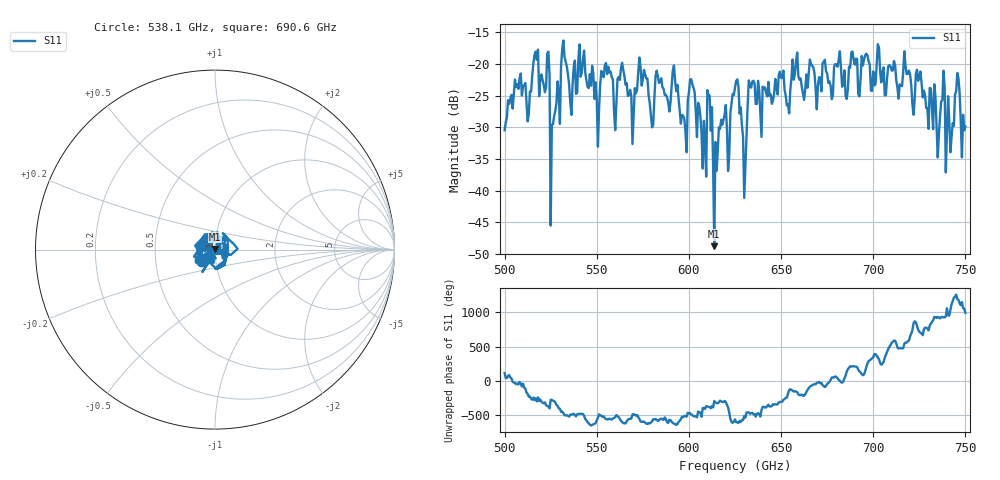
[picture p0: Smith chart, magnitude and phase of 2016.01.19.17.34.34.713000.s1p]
!Created with skrf (http://scikit-rf.org).
# GHz S RI R 50.0
!freq ReS11 ImS11
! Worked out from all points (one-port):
!   401 points, 500 GHz to 750 GHz, reference 50 ohm
!   lowest |S11| = -48.8 dB at 613.8 GHz (marker M1), VSWR 1.01, Z = 50.1 + j0.339 ohm
!   |S11| at or under -10 dB: start of sweep to end of sweep
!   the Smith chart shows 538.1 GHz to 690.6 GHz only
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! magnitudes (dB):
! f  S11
! 500 GHz  -30.5
! 507.5 GHz  -23.9
! 513.1 GHz  -27.9
! 516.9 GHz  -18.0
! 523.1 GHz  -18.4
! 526.2 GHz  -29.5
! 531.2 GHz  -17.7
! 550 GHz  -25.7
! 562.5 GHz  -22.5
! 568.8 GHz  -25.0
! 574.4 GHz  -23.4
! 579.4 GHz  -28.2
! 593.8 GHz  -23.3
! 597.5 GHz  -28.6
! 601.9 GHz  -23.2
! 608.1 GHz  -29.0
! 611.2 GHz  -25.0
! 613.8 GHz  -48.8
! 625 GHz  -23.7
! 630 GHz  -41.2
! 633.8 GHz  -23.7
! 656.2 GHz  -19.3
! 687.5 GHz  -20.6
! 718.8 GHz  -21.6
! 737.5 GHz  -25.7
! 740.6 GHz  -25.1
! 745.6 GHz  -21.4
! 750 GHz  -29.9
